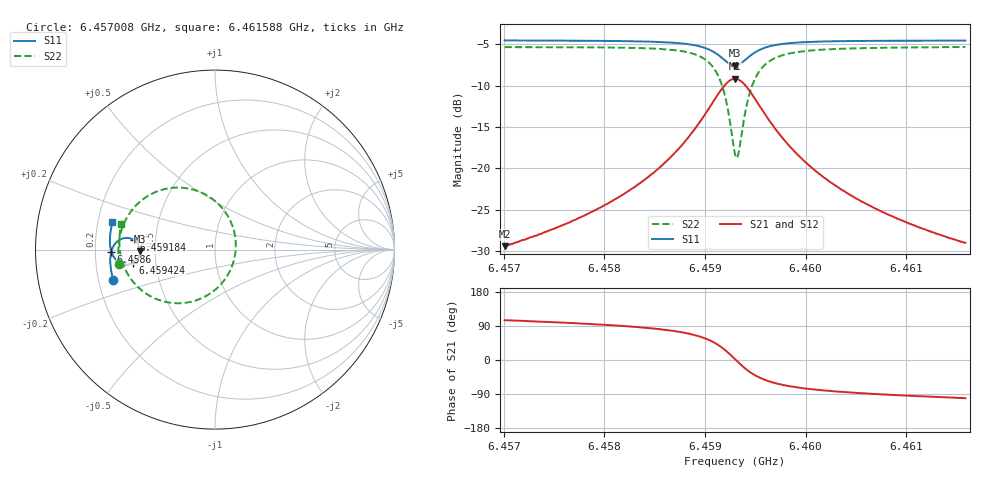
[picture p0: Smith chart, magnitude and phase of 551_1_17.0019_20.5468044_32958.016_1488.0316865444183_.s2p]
#  HZ  S  RI  R  50.00
! Rohde & Schwarz Vector Network Analyzer
! Rohde-Schwarz,ZNB20-2Port,1311601062101988,3.16
! Created: UTC 3/20/2024, 11:16:48 PM
! freq[Hz]  re:S11  im:S11  re:S21  im:S21  re:S12  im:S12  re:S22  im:S22
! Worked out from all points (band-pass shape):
!   401 points, 6.457008 GHz to 6.461588 GHz, reference 50 ohm
!   highest |S21| = -9.19 dB at 6.459298 GHz (marker M1); lowest = -29.4 dB at 6.457008 GHz (marker M2)
!   |S21| within 3 dB of the highest: 6.45907 GHz to 6.459528 GHz (457.8 kHz wide, 0.00709 % of centre)
!   lowest |S11| = -7.6 dB at 6.459298 GHz (marker M3), VSWR 2.43, Z = 20.6 - j0.448 ohm
!   |S11| at or under -10 dB: nowhere
!   |S22| runs from -18.7 to -5.3 dB; largest |S21 - S12| = 0.014
!   S11 on the Smith chart (normalised r, x): 6.457008 GHz: 0.26, -0.14; 6.4586 GHz: 0.27, -0.01; 6.459184 GHz: 0.37, +0.05; 6.459424 GHz: 0.37, -0.07; 6.461588 GHz: 0.26, +0.12
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6.4570084e9  -0.5673 -0.1698  -0.00872 0.0327  -0.00704 0.0325  -0.5333 -0.0819
6.4577756e9  -0.5811 -0.1026  -0.00548 0.0507  -0.0028 0.05  -0.5382 0.00815
6.4581649e9  -0.5838 -0.0637  -0.000206 0.0682  0.00316 0.0669  -0.531 0.0693
6.4585427e9  -0.5799 -0.0189  0.0147 0.0991  0.0187 0.0964  -0.5037 0.1535
6.4586e9  -0.5779 -0.011  0.0191 0.1062  0.0231 0.103  -0.4955 0.1701
6.4588061e9  -0.5648 0.021  0.0468 0.1386  0.051 0.1335  -0.4435 0.243
6.4589549e9  -0.542 0.0474  0.0925 0.169  0.0956 0.1623  -0.3592 0.3073
6.4590923e9  -0.498 0.0648  0.1799 0.1854  0.1809 0.1779  -0.199 0.3456
6.4591839e9  -0.4532 0.0543  0.2701 0.1538  0.2703 0.148  -0.0316 0.2944
6.4592526e9  -0.4242 0.0222  0.3307 0.0813  0.3329 0.0762  0.0841 0.1637
6.4592984e9  -0.4173 -0.00901  0.3471 0.0133  0.3508 0.0062  0.1161 0.036
6.4593099e9  -0.4177 -0.0171  0.3468 -0.00457  0.3507 -0.0123  0.1155 0.00204
6.4593328e9  -0.4214 -0.0328  0.3411 -0.0394  0.3451 -0.0487  0.1043 -0.064
6.4593786e9  -0.437 -0.059  0.3122 -0.0997  0.3146 -0.1116  0.0459 -0.1779
6.4594244e9  -0.4592 -0.0752  0.2698 -0.1408  0.2691 -0.1541  -0.04 -0.2531
6.459516e9  -0.5028 -0.0822  0.1847 -0.1718  0.1784 -0.1835  -0.2103 -0.2989
6.4596648e9  -0.5467 -0.0617  0.0963 -0.1577  0.0878 -0.1639  -0.3789 -0.2486
6.4598251e9  -0.5683 -0.034  0.0513 -0.1295  0.0437 -0.1323  -0.4594 -0.1758
6.4600656e9  -0.5809 0.00171  0.022 -0.0977  0.0162 -0.0983  -0.5074 -0.0929
6.4604434e9  -0.5855 0.0463  0.00519 -0.0687  0.0012 -0.0683  -0.5296 -0.00696
6.4608328e9  -0.5835 0.0854  -0.00161 -0.0521  -0.00444 -0.0512  -0.5329 0.0548
6.4615885e9  -0.5713 0.1523  -0.00665 -0.0348  -0.00837 -0.0337  -0.5213 0.1446
